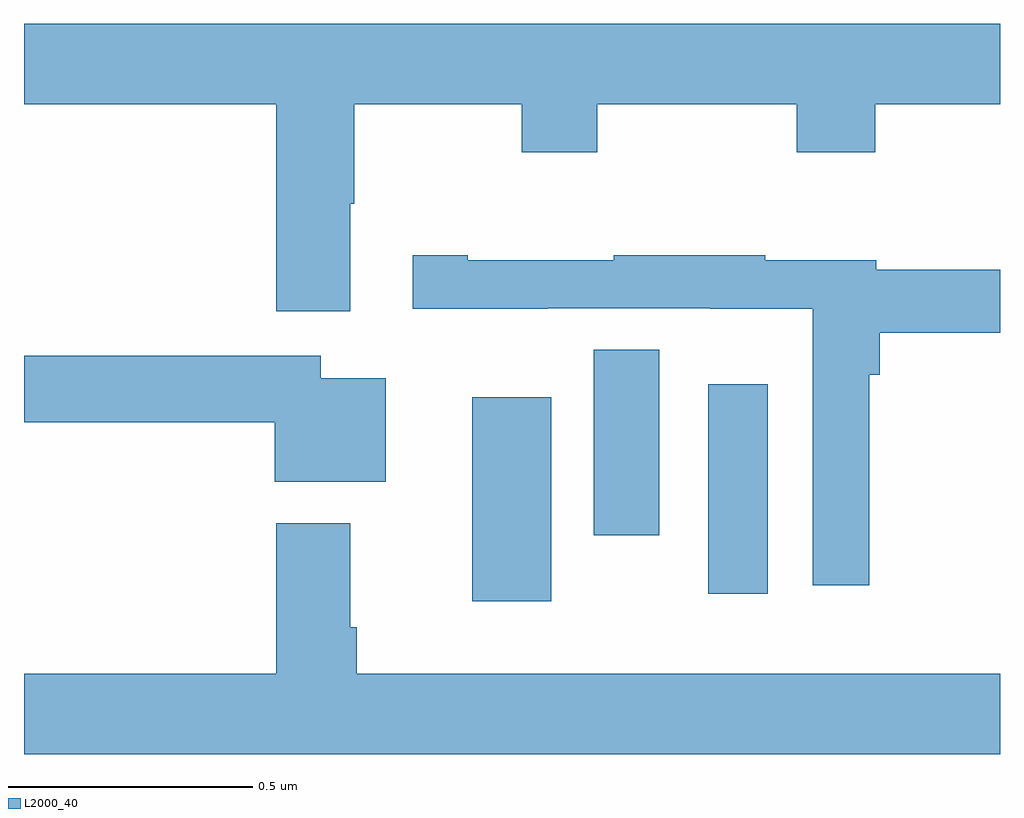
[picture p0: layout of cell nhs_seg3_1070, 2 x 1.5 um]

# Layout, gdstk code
import gdstk
lib = gdstk.Library(unit=1e-6, precision=1e-09)
def R(c, l, rs):  # rectangles x0, y0, x1, y1
    for r in rs: c.add(gdstk.rectangle(r[:2], r[2:], *l))
def P(c, l, *ps):  # polygons
    for p in ps: c.add(gdstk.Polygon(p, *l))
L2000_40 = (2000, 40)

nhs_seg3_1070 = lib.new_cell('nhs_seg3_1070')
R(nhs_seg3_1070, L2000_40, [(124.919,683.913,125.08,684.331), (125.402,683.928,125.524,684.358), (125.168,684.048,125.302,684.428)])
P(nhs_seg3_1070, L2000_40, [(124.669,684.728),(124.677,684.728),(124.677,684.932),(125.02,684.932),(125.02,684.833),(125.175,684.833),(125.175,684.932),(125.584,684.932),(125.584,684.833),(125.744,684.833),(125.744,684.932),(126,684.932),(126,685.096),(124,685.096),(124,684.932),(124.517,684.932),(124.517,684.507),(124.669,684.507)],
  [(125.732,684.377),(125.754,684.377),(125.754,684.463),(126,684.463),(126,684.592),(125.746,684.592),(125.746,684.612),(125.519,684.612),(125.519,684.622),(125.209,684.622),(125.209,684.612),(124.909,684.612),(124.909,684.622),(124.797,684.622),(124.797,684.512),(125.072,684.512),(125.072,684.513),(125.406,684.513),(125.406,684.512),(125.616,684.512),(125.616,683.946),(125.732,683.946)],
  [(124.741,684.37),(124.608,684.37),(124.608,684.416),(124,684.416),(124,684.28),(124.514,684.28),(124.514,684.158),(124.741,684.158)],
  [(126,683.764),(124.682,683.764),(124.682,683.86),(124.669,683.86),(124.669,684.073),(124.517,684.073),(124.517,683.764),(124,683.764),(124,683.6),(126,683.6)])

lib.write_gds('nhs_seg3_1070.gds')
